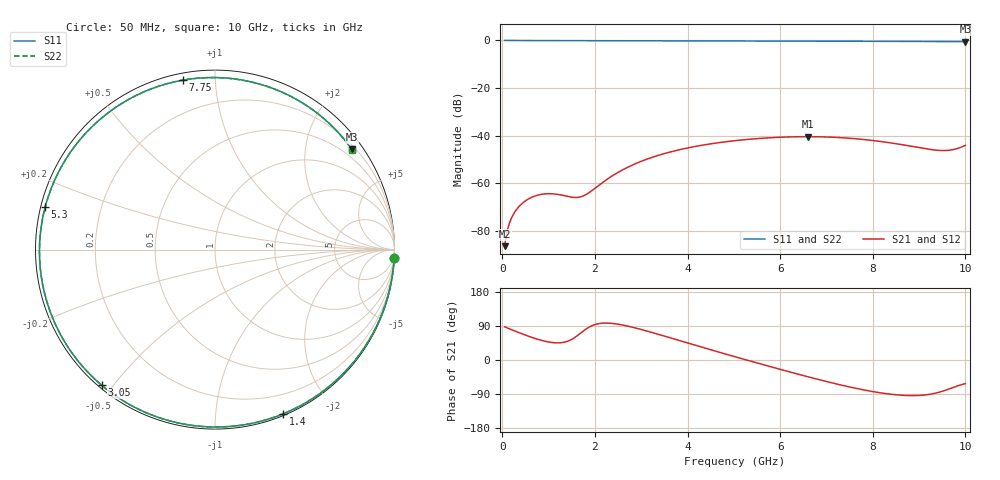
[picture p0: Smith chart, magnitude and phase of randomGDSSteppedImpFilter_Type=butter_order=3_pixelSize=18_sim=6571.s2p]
! freq	dB(S11)	phase(S11)	dB(S12)	phase(S12)
!  dB(S21)	phase(S21)	dB(S22)	phase(S22)
!S-par simulation data
#  GHz  S  DB  R 50
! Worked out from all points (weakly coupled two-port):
!   200 points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, 50 MHz to 10 GHz, reference 50 ohm
!   highest |S21| = -40.47 dB at 6.6 GHz (marker M1); lowest = -86.5 dB at 50 MHz (marker M2)
!   lowest |S11| = -0.5 dB at 10 GHz (marker M3), VSWR 35.11, Z = 14.6 + j152 ohm
!   |S11| at or under -10 dB: nowhere
!   |S22| runs from -0.5 to 0.0 dB; largest |S21 - S12| = 0
!   S11 on the Smith chart (normalised r, x): 50 MHz: 0, -45; 1.4 GHz: 0.02, -1.49; 3.05 GHz: 0.01, -0.47; 5.3 GHz: 0.01, +0.12; 7.75 GHz: 0.03, +0.83; 10 GHz: 0.29, +3.03
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0.05  -0.00 -2.6  -86.53 87.5  -86.53 87.5  -0.00 -2.6
0.1  -0.01 -5.1  -80.54 85.0  -80.54 85.0  -0.01 -5.1
0.2  -0.01 -10.2  -74.63 80.0  -74.63 80.0  -0.01 -10.2
0.3  -0.02 -15.2  -71.29 75.1  -71.29 75.1  -0.02 -15.2
0.55  -0.04 -27.7  -66.83 63.4  -66.83 63.4  -0.04 -27.7
0.95  -0.06 -47.1  -64.49 48.7  -64.49 48.7  -0.06 -47.1
1.4  -0.08 -67.6  -65.54 49.1  -65.54 49.1  -0.08 -67.6
1.75  -0.09 -82.4  -65.38 76.5  -65.38 76.5  -0.09 -82.5
2.35  -0.11 -105.8  -57.27 96.9  -57.27 96.9  -0.11 -105.8
3.05  -0.13 -129.9  -50.45 78.9  -50.45 78.9  -0.13 -129.9
3.4  -0.14 -140.9  -48.14 66.7  -48.14 66.7  -0.14 -140.9
4.2  -0.17 -164.4  -44.46 37.8  -44.46 37.8  -0.17 -164.4
5.05  -0.21 172.5  -42.10 7.7  -42.10 7.7  -0.21 172.5
5.3  -0.22 165.9  -41.62 -0.9  -41.62 -0.9  -0.22 165.8
5.95  -0.25 148.8  -40.76 -22.9  -40.76 -22.9  -0.25 148.8
6.6  -0.28 131.7  -40.47 -44.3  -40.47 -44.3  -0.28 131.7
6.7  -0.29 129.1  -40.48 -47.5  -40.48 -47.5  -0.29 129.1
7.75  -0.35 100.7  -41.55 -77.6  -41.55 -77.6  -0.35 100.7
8.35  -0.38 83.9  -42.98 -89.7  -42.98 -89.7  -0.38 83.9
9.45  -0.45 52.2  -46.27 -84.4  -46.27 -84.4  -0.45 52.2
9.75  -0.47 43.5  -45.84 -71.9  -45.84 -71.9  -0.47 43.5
10  -0.49 36.2  -44.11 -62.3  -44.11 -62.3  -0.49 36.2
